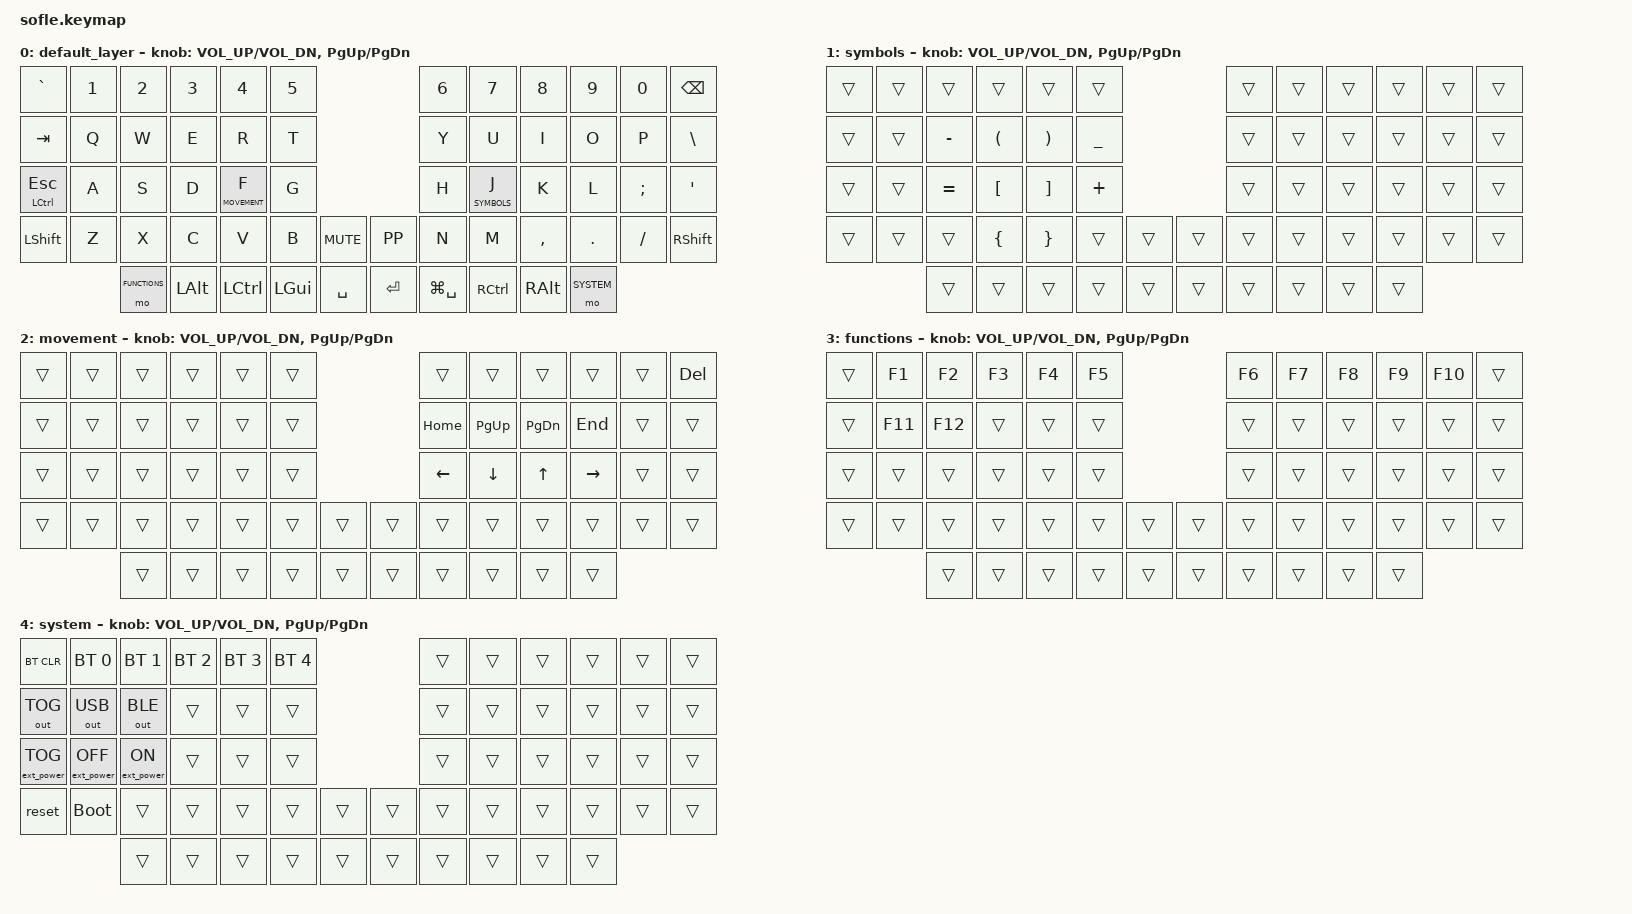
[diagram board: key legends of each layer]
/*
 * Copyright (c) 2020 The ZMK Contributors
 *
 * SPDX-License-Identifier: MIT
 */

#include <behaviors.dtsi>
#include <dt-bindings/zmk/keys.h>
#include <dt-bindings/zmk/bt.h>
#include <dt-bindings/zmk/ext_power.h>
#include <dt-bindings/zmk/outputs.h>

#define DEFAULT 0
#define SYMBOLS 1
#define MOVEMENT 2
#define FUNCTIONS 3
#define SYSTEM 4

/ {
    keymap {
        compatible = "zmk,keymap";

        default_layer {
// ------------------------------------------------------------------------------------------------------------
// | `        |  1  |  2        |  3   |  4          |  5   |                   |  6        |  7         |  8    |  9     |   0   | BKSPC |
// | TAB      |  Q  |  W        |  E   |  R          |  T   |                   |  Y        |  U         |  I    |  O     |   P   | \     |
// | CTRL/ESC |  A  |  S        |  D   | F/MOVEMENTS |  G   |                   |  H        |  J/SYMBOLS |  K    |  L     |   ;   |   '   |
// | SHIFT    |  Z  |  X        |  C   |  V          |  B   |  MUTE  |  | PLAY  |  N        |  M         |  ,    |  .     |   /   | SHIFT |
//                  | FUNCTIONS | ALT  | CTRL        | GUI  |  ENTER |  | SPACE | GUI+SPACE | CTRL       | ALT   | SYSTEM |
            bindings = <
&kp GRAVE     &kp N1 &kp N2         &kp N3   &kp N4           &kp N5                          &kp N6        &kp N7            &kp N8    &kp N9   &kp N0   &kp BSPC
&kp TAB       &kp Q  &kp W          &kp E    &kp R            &kp T                           &kp Y         &kp U             &kp I     &kp O    &kp P    &kp BSLH
&mt LCTRL ESC &kp A  &kp S          &kp D    &lt MOVEMENT F   &kp G                           &kp H         &lt SYMBOLS J     &kp K     &kp L    &kp SEMI &kp SQT
&kp LSHFT     &kp Z  &kp X          &kp C    &kp V            &kp B     &kp K_MUTE   &kp K_PP &kp N         &kp M             &kp COMMA &kp DOT  &kp FSLH &kp RSHFT
                     &mo FUNCTIONS  &kp LALT &kp LCTRL        &kp LGUI  &kp SPACE    &kp RET  &kp LG(SPACE) &kp RCTRL         &kp RALT  &mo SYSTEM
            >;

            sensor-bindings = <&inc_dec_kp C_VOL_UP C_VOL_DN &inc_dec_kp PG_UP PG_DN>;
        };

        symbols {
// ---------------------------------------------------  -------------------------------------------------------
// |       |     |     |      |      |      |                   |      |       |       |      |       |       |
// |       |     |  -  |  (   |  )   |  _   |                   |      |       |       |      |       |       |
// |       |     |  =  |  [   |  ]   |  +   |                   |      |       |       |      |       |       |
// |       |     |     |  {   |  }   |      |        |  |       |      |       |       |      |       |       |
//               |     |      |      |      |        |  |       |      |       |       |      |
            bindings = <
&trans    &trans    &trans      &trans          &trans    &trans                    &trans    &trans   &trans          &trans    &trans   &trans
&trans    &trans    &kp MINUS   &kp LPAR        &kp RPAR  &kp UNDER                 &trans    &trans   &trans          &trans    &trans   &trans
&trans    &trans    &kp EQUAL   &kp LBKT        &kp RBKT  &kp PLUS                  &trans    &trans   &trans          &trans    &trans   &trans
&trans    &trans    &trans      &kp LBRC        &kp RBRC  &trans    &trans   &trans &trans    &trans   &trans          &trans    &trans   &trans
                    &trans      &trans          &trans    &trans    &trans   &trans &trans    &trans   &trans          &trans
            >;

            sensor-bindings = <&inc_dec_kp C_VOL_UP C_VOL_DN &inc_dec_kp PG_UP PG_DN>;
        };

        movement {
// ---------------------------------------------------  -------------------------------------------------------
// |       |     |     |      |      |      |                   |      |       |       |      |       |  DEL  |
// |       |     |     |      |      |      |                   | HOME | PG_UP | PG_DN |  END |       |       |
// |       |     |     |      |      |      |                   |  <   |   V   |   ^   |  >   |       |       |
// |       |     |     |      |      |      |        |  |       |      |       |       |      |       |       |
//               |     |      |      |      |        |  |       |      |       |       |      |
            bindings = <
&trans    &trans    &trans    &trans      &trans    &trans                    &trans    &trans    &trans    &trans    &trans   &kp DEL
&trans    &trans    &trans    &trans      &trans    &trans                    &kp HOME  &kp PG_UP &kp PG_DN &kp END   &trans   &trans
&trans    &trans    &trans    &trans      &trans    &trans                    &kp LEFT  &kp DOWN  &kp UP    &kp RIGHT &trans   &trans
&trans    &trans    &trans    &trans      &trans    &trans    &trans   &trans &trans    &trans    &trans    &trans    &trans   &trans
                    &trans    &trans      &trans    &trans    &trans   &trans &trans    &trans    &trans    &trans        
            >;

            sensor-bindings = <&inc_dec_kp C_VOL_UP C_VOL_DN &inc_dec_kp PG_UP PG_DN>;
        };
        
        functions {
// ---------------------------------------------------  -------------------------------------------------------
// |       |  F1 |  F2 |  F3  |  F4  |  F5  |                   |  F6  |  F7   |  F8   |  F9  |  F10  |       |
// |       | F11 | F12 |      |      |      |                   |      |       |       |      |       |       |
// |       |     |     |      |      |      |                   |      |       |       |      |       |       |
// |       |     |     |      |      |      |        |  |       |      |       |       |      |       |       |
//               |     |      |      |      |        |  |       |      |       |       |      |
            bindings = <
&trans    &kp F1    &kp F2    &kp F3      &kp F4    &kp F5                    &kp F6    &kp F7   &kp F8    &kp F9    &kp F10   &trans
&trans    &kp F11   &kp F12   &trans      &trans    &trans                    &trans    &trans   &trans    &trans    &trans    &trans
&trans    &trans    &trans    &trans      &trans    &trans                    &trans    &trans   &trans    &trans    &trans    &trans
&trans    &trans    &trans    &trans      &trans    &trans    &trans   &trans &trans    &trans   &trans    &trans    &trans    &trans
                    &trans    &trans      &trans    &trans    &trans   &trans &trans    &trans   &trans    &trans
            >;

            sensor-bindings = <&inc_dec_kp C_VOL_UP C_VOL_DN &inc_dec_kp PG_UP PG_DN>;
        };

        system {
// -------------------------------------------------------  ---------------------------------------------------
// |BTCLR  | BT1   | BT2   |  BT3  |  BT4  |  BT5 |                |      |      |       |       |       |       |
// |OUT_TOG|OUT_USB|OUT_BLE|       |       |      |                |      |      |       |       |       |       |
// |EXTPTOG|EXTPOFF|EXPPON |       |       |      |                |      |      |       |       |       |       |
// | RESET | BOOTL |       |       |       |      |      |  |      |      |      |       |       |       |       |
//                 |       |       |       |      |      |  |      |      |      |       |       |
            bindings = <
&bt BT_CLR        &bt BT_SEL 0      &bt BT_SEL 1     &bt BT_SEL 2 &bt BT_SEL 3 &bt BT_SEL 4                  &trans    &trans    &trans   &trans    &trans  &trans
&out OUT_TOG      &out OUT_USB      &out OUT_BLE     &trans       &trans       &trans                        &trans    &trans    &trans   &trans    &trans  &trans
&ext_power EP_TOG &ext_power EP_OFF &ext_power EP_ON &trans       &trans       &trans                        &trans    &trans    &trans   &trans    &trans  &trans
&reset            &bootloader       &trans           &trans       &trans       &trans       &trans   &trans  &trans    &trans    &trans   &trans    &trans  &trans
                                    &trans           &trans       &trans       &trans       &trans   &trans  &trans    &trans    &trans   &trans
            >;

            sensor-bindings = <&inc_dec_kp C_VOL_UP C_VOL_DN &inc_dec_kp PG_UP PG_DN>;
        };
    };
};
